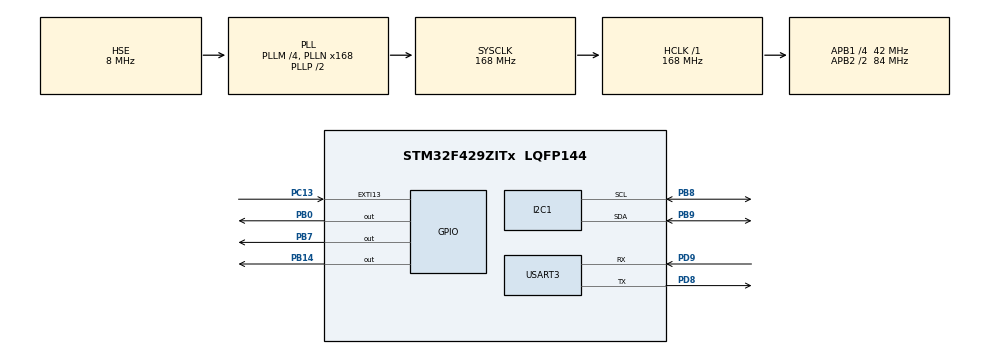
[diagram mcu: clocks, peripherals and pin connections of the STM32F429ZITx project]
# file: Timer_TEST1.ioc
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Mcu.Family=STM32F4
Mcu.Name=STM32F429ZITx
Mcu.Package=LQFP144
NVIC.EXTI15_10_IRQn=true\:0\:0\:false\:false\:true\:true\:true\:true
NVIC.PriorityGroup=NVIC_PRIORITYGROUP_4
NVIC.RCC_IRQn=true\:0\:0\:false\:true\:true\:3\:true\:false\:true
NVIC.TIM3_IRQn=true\:0\:0\:false\:true\:true\:2\:true\:true\:true
NVIC.USART3_IRQn=true\:0\:0\:false\:true\:true\:1\:true\:true\:true
PB0.Signal=GPIO_Output
PB14.Signal=GPIO_Output
PB7.Signal=GPIO_Output
PB8.Mode=I2C
PB8.Signal=I2C1_SCL
PB9.Mode=I2C
PB9.Signal=I2C1_SDA
PC13.Signal=GPXTI13
PC14/OSC32_IN.Mode=LSE-External-Oscillator
PC14/OSC32_IN.Signal=RCC_OSC32_IN
PC15/OSC32_OUT.Mode=LSE-External-Oscillator
PC15/OSC32_OUT.Signal=RCC_OSC32_OUT
PD8.Mode=Asynchronous
PD8.Signal=USART3_TX
PD9.Mode=Asynchronous
PD9.Signal=USART3_RX
PH0/OSC_IN.Mode=HSE-External-Clock-Source
PH0/OSC_IN.Signal=RCC_OSC_IN
PH1/OSC_OUT.Mode=HSE-External-Clock-Source
PH1/OSC_OUT.Signal=RCC_OSC_OUT
ProjectManager.HeapSize=0x200
ProjectManager.StackSize=0x400
ProjectManager.TargetToolchain=STM32CubeIDE
RCC.48MHZClocksFreq_Value=84000000
RCC.AHBFreq_Value=168000000
RCC.APB1CLKDivider=RCC_HCLK_DIV4
RCC.APB1Freq_Value=42000000
RCC.APB1TimFreq_Value=84000000
RCC.APB2CLKDivider=RCC_HCLK_DIV2
RCC.APB2Freq_Value=84000000
RCC.APB2TimFreq_Value=168000000
RCC.CortexFreq_Value=168000000
RCC.HCLKFreq_Value=168000000
RCC.HSE_VALUE=8000000
RCC.HSI_VALUE=16000000
RCC.PLLM=4
RCC.PLLN=168
RCC.PLLSourceVirtual=RCC_PLLSOURCE_HSE
RCC.RCC_RTC_Clock_Source=RCC_RTCCLKSOURCE_LSE
RCC.RCC_RTC_Clock_SourceVirtual=RCC_RTCCLKSOURCE_LSE
RCC.SYSCLKFreq_VALUE=168000000
RCC.SYSCLKSource=RCC_SYSCLKSOURCE_PLLCLK
RCC.VCOOutputFreq_Value=336000000
USART3.VirtualMode=VM_ASYNC
VP_RTC_VS_RTC_Activate.Mode=RTC_Enabled
VP_TIM3_VS_ClockSourceINT.Mode=Internal
board=custom

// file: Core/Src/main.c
/* USER CODE BEGIN Header */
/**
  ******************************************************************************
  * @file           : main.c
  * @brief          : Main program body
  ******************************************************************************
  * @attention
  *
  * Copyright (c) 2023 STMicroelectronics.
  * All rights reserved.
  *
  * This software is licensed under terms that can be found in the LICENSE file
  * in the root directory of this software component.
  * If no LICENSE file comes with this software, it is provided AS-IS.
  *
  ******************************************************************************
  */
/* USER CODE END Header */
#include "main.h"

I2C_HandleTypeDef hi2c1;

RTC_HandleTypeDef hrtc;

TIM_HandleTypeDef htim3;

UART_HandleTypeDef huart3;

void SystemClock_Config(void);
static void MX_GPIO_Init(void);
static void MX_USART3_UART_Init(void);
static void MX_I2C1_Init(void);
static void MX_RTC_Init(void);
static void MX_TIM3_Init(void);
static void MX_NVIC_Init(void);

/* USER CODE BEGIN 0 */
char time[30];
int hour = 23, min = 59, sec =0;

char secLine[] = "HOMEWORK COMPLETE!   ";
//문자를 밀어주는 함수
void slideLine(char line[])
{
	int i;
	char start = line[0];
	for(i = 0; i < 21; i++)
	{
		if(i == 20)
		{
			line[i] = start;
			break;
		}
		line[i] = line[i + 1];
	}
}

////Tick이 한번씩 들어오면 실행되는 함수
//void HAL_IncTick(void)
//{
//	uwTick += uwTickFreq;
//	if((uwTick % 1000) == 0)
//	{
//		HAL_GPIO_TogglePin(GPIOB, GPIO_PIN_14);
//	}
//	if((uwTick % 500) == 0)
//	{
//		HAL_GPIO_TogglePin(GPIOB, GPIO_PIN_7);
//	}
//	if((uwTick % 250) == 0)
//	{
//		HAL_GPIO_TogglePin(GPIOB, GPIO_PIN_0);
//	}
//}

//System tick 콜백함수
int timer_cnt = 0;
void HAL_SYSTICK_Callback(void)
{
	if((timer_cnt % 1000) == 0)
	{
		sec++;
		HAL_GPIO_TogglePin(GPIOB, GPIO_PIN_14);
	}
	timer_cnt++;
}
/* USER CODE END 0 */

int main(void)
{

  /* MCU Configuration--------------------------------------------------------*/

  /* Reset of all peripherals, Initializes the Flash interface and the Systick. */
  HAL_Init();

  /* Configure the system clock */
  SystemClock_Config();

  /* Initialize all configured peripherals */
  MX_GPIO_Init();
  MX_USART3_UART_Init();
  MX_I2C1_Init();
  MX_RTC_Init();
  MX_TIM3_Init();

  /* Initialize interrupts */
  MX_NVIC_Init();
  /* USER CODE BEGIN 2 */
  init();

  /* USER CODE END 2 */

  /* Infinite loop */
  /* USER CODE BEGIN WHILE */
  while (1)
  {
	  if(sec > 59)
	  {
		  sec = 0;
		  min++;
	  }
	  if(min > 59)
	  {
		  min = 0;
		  hour++;
	  }
	  if(hour > 23)
	  {
		  hour = 0;
	  }

	  sprintf(time, "Time %02d:%02d:%02d       ",hour, min, sec);
	  LCD_SendCommand((0x27 << 1), 0b10000000); //0x00
	  LCD_SendString((0x27 << 1), time);
	  slideLine(secLine);
	  LCD_SendCommand((0x27 << 1), 0b11000000); //0x00
	  LCD_SendString((0x27 << 1), secLine);
    /* USER CODE END WHILE */

  }
}

void SystemClock_Config(void)
{
  RCC_OscInitTypeDef RCC_OscInitStruct = {0};
  RCC_ClkInitTypeDef RCC_ClkInitStruct = {0};

  /** Configure the main internal regulator output voltage
  */
  __HAL_RCC_PWR_CLK_ENABLE();
  __HAL_PWR_VOLTAGESCALING_CONFIG(PWR_REGULATOR_VOLTAGE_SCALE1);

  /** Initializes the RCC Oscillators according to the specified parameters
  * in the RCC_OscInitTypeDef structure.
  */
  RCC_OscInitStruct.OscillatorType = RCC_OSCILLATORTYPE_HSE|RCC_OSCILLATORTYPE_LSE;
  RCC_OscInitStruct.HSEState = RCC_HSE_BYPASS;
  RCC_OscInitStruct.LSEState = RCC_LSE_ON;
  RCC_OscInitStruct.PLL.PLLState = RCC_PLL_ON;
  RCC_OscInitStruct.PLL.PLLSource = RCC_PLLSOURCE_HSE;
  RCC_OscInitStruct.PLL.PLLM = 4;
  RCC_OscInitStruct.PLL.PLLN = 168;
  RCC_OscInitStruct.PLL.PLLP = RCC_PLLP_DIV2;
  RCC_OscInitStruct.PLL.PLLQ = 4;
  if (HAL_RCC_OscConfig(&RCC_OscInitStruct) != HAL_OK)
  {
    Error_Handler();
  }

  /** Initializes the CPU, AHB and APB buses clocks
  */
  RCC_ClkInitStruct.ClockType = RCC_CLOCKTYPE_HCLK|RCC_CLOCKTYPE_SYSCLK
                              |RCC_CLOCKTYPE_PCLK1|RCC_CLOCKTYPE_PCLK2;
  RCC_ClkInitStruct.SYSCLKSource = RCC_SYSCLKSOURCE_PLLCLK;
  RCC_ClkInitStruct.AHBCLKDivider = RCC_SYSCLK_DIV1;
  RCC_ClkInitStruct.APB1CLKDivider = RCC_HCLK_DIV4;
  RCC_ClkInitStruct.APB2CLKDivider = RCC_HCLK_DIV2;

  if (HAL_RCC_ClockConfig(&RCC_ClkInitStruct, FLASH_LATENCY_5) != HAL_OK)
  {
    Error_Handler();
  }
}

/**
  * @brief NVIC Configuration.
  * @retval None
  */
static void MX_NVIC_Init(void)
{
  /* USART3_IRQn interrupt configuration */
  HAL_NVIC_SetPriority(USART3_IRQn, 0, 0);
  HAL_NVIC_EnableIRQ(USART3_IRQn);
  /* TIM3_IRQn interrupt configuration */
  HAL_NVIC_SetPriority(TIM3_IRQn, 0, 0);
  HAL_NVIC_EnableIRQ(TIM3_IRQn);
  /* RCC_IRQn interrupt configuration */
  HAL_NVIC_SetPriority(RCC_IRQn, 0, 0);
  HAL_NVIC_EnableIRQ(RCC_IRQn);
}

static void MX_I2C1_Init(void)
{

  hi2c1.Instance = I2C1;
  hi2c1.Init.ClockSpeed = 100000;
  hi2c1.Init.DutyCycle = I2C_DUTYCYCLE_2;
  hi2c1.Init.OwnAddress1 = 0;
  hi2c1.Init.AddressingMode = I2C_ADDRESSINGMODE_7BIT;
  hi2c1.Init.DualAddressMode = I2C_DUALADDRESS_DISABLE;
  hi2c1.Init.OwnAddress2 = 0;
  hi2c1.Init.GeneralCallMode = I2C_GENERALCALL_DISABLE;
  hi2c1.Init.NoStretchMode = I2C_NOSTRETCH_DISABLE;
  if (HAL_I2C_Init(&hi2c1) != HAL_OK)
  {
    Error_Handler();
  }

  /** Configure Analogue filter
  */
  if (HAL_I2CEx_ConfigAnalogFilter(&hi2c1, I2C_ANALOGFILTER_ENABLE) != HAL_OK)
  {
    Error_Handler();
  }

  /** Configure Digital filter
  */
  if (HAL_I2CEx_ConfigDigitalFilter(&hi2c1, 0) != HAL_OK)
  {
    Error_Handler();
  }

}

static void MX_RTC_Init(void)
{

  /** Initialize RTC Only
  */
  hrtc.Instance = RTC;
  hrtc.Init.HourFormat = RTC_HOURFORMAT_24;
  hrtc.Init.AsynchPrediv = 127;
  hrtc.Init.SynchPrediv = 255;
  hrtc.Init.OutPut = RTC_OUTPUT_DISABLE;
  hrtc.Init.OutPutPolarity = RTC_OUTPUT_POLARITY_HIGH;
  hrtc.Init.OutPutType = RTC_OUTPUT_TYPE_OPENDRAIN;
  if (HAL_RTC_Init(&hrtc) != HAL_OK)
  {
    Error_Handler();
  }

}

static void MX_TIM3_Init(void)
{

  TIM_ClockConfigTypeDef sClockSourceConfig = {0};
  TIM_MasterConfigTypeDef sMasterConfig = {0};

  htim3.Instance = TIM3;
  htim3.Init.Prescaler = 0;
  htim3.Init.CounterMode = TIM_COUNTERMODE_UP;
  htim3.Init.Period = 65535;
  htim3.Init.ClockDivision = TIM_CLOCKDIVISION_DIV1;
  htim3.Init.AutoReloadPreload = TIM_AUTORELOAD_PRELOAD_DISABLE;
  if (HAL_TIM_Base_Init(&htim3) != HAL_OK)
  {
    Error_Handler();
  }
  sClockSourceConfig.ClockSource = TIM_CLOCKSOURCE_INTERNAL;
  if (HAL_TIM_ConfigClockSource(&htim3, &sClockSourceConfig) != HAL_OK)
  {
    Error_Handler();
  }
  sMasterConfig.MasterOutputTrigger = TIM_TRGO_RESET;
  sMasterConfig.MasterSlaveMode = TIM_MASTERSLAVEMODE_DISABLE;
  if (HAL_TIMEx_MasterConfigSynchronization(&htim3, &sMasterConfig) != HAL_OK)
  {
    Error_Handler();
  }

}

static void MX_USART3_UART_Init(void)
{

  huart3.Instance = USART3;
  huart3.Init.BaudRate = 115200;
  huart3.Init.WordLength = UART_WORDLENGTH_8B;
  huart3.Init.StopBits = UART_STOPBITS_1;
  huart3.Init.Parity = UART_PARITY_NONE;
  huart3.Init.Mode = UART_MODE_TX_RX;
  huart3.Init.HwFlowCtl = UART_HWCONTROL_NONE;
  huart3.Init.OverSampling = UART_OVERSAMPLING_16;
  if (HAL_UART_Init(&huart3) != HAL_OK)
  {
    Error_Handler();
  }

}

static void MX_GPIO_Init(void)
{
  GPIO_InitTypeDef GPIO_InitStruct = {0};

  /* GPIO Ports Clock Enable */
  __HAL_RCC_GPIOC_CLK_ENABLE();
  __HAL_RCC_GPIOH_CLK_ENABLE();
  __HAL_RCC_GPIOB_CLK_ENABLE();
  __HAL_RCC_GPIOD_CLK_ENABLE();

  /*Configure GPIO pin Output Level */
  HAL_GPIO_WritePin(GPIOB, GPIO_PIN_0|GPIO_PIN_14|GPIO_PIN_7, GPIO_PIN_RESET);

  /*Configure GPIO pin : PC13 */
  GPIO_InitStruct.Pin = GPIO_PIN_13;
  GPIO_InitStruct.Mode = GPIO_MODE_IT_RISING;
  GPIO_InitStruct.Pull = GPIO_NOPULL;
  HAL_GPIO_Init(GPIOC, &GPIO_InitStruct);

  /*Configure GPIO pins : PB0 PB14 PB7 */
  GPIO_InitStruct.Pin = GPIO_PIN_0|GPIO_PIN_14|GPIO_PIN_7;
  GPIO_InitStruct.Mode = GPIO_MODE_OUTPUT_PP;
  GPIO_InitStruct.Pull = GPIO_NOPULL;
  GPIO_InitStruct.Speed = GPIO_SPEED_FREQ_LOW;
  HAL_GPIO_Init(GPIOB, &GPIO_InitStruct);

  /* EXTI interrupt init*/
  HAL_NVIC_SetPriority(EXTI15_10_IRQn, 0, 0);
  HAL_NVIC_EnableIRQ(EXTI15_10_IRQn);

}

/* USER CODE BEGIN 4 */
//USER Btn PC13
void HAL_GPIO_EXTI_Callback(uint16_t GPIO_Pin)
{
	if(GPIO_Pin == GPIO_PIN_13)
	{
		sec++;
	}
}
/* USER CODE END 4 */

void Error_Handler(void)
{
  __disable_irq();
  while (1)
  {
  }
}
